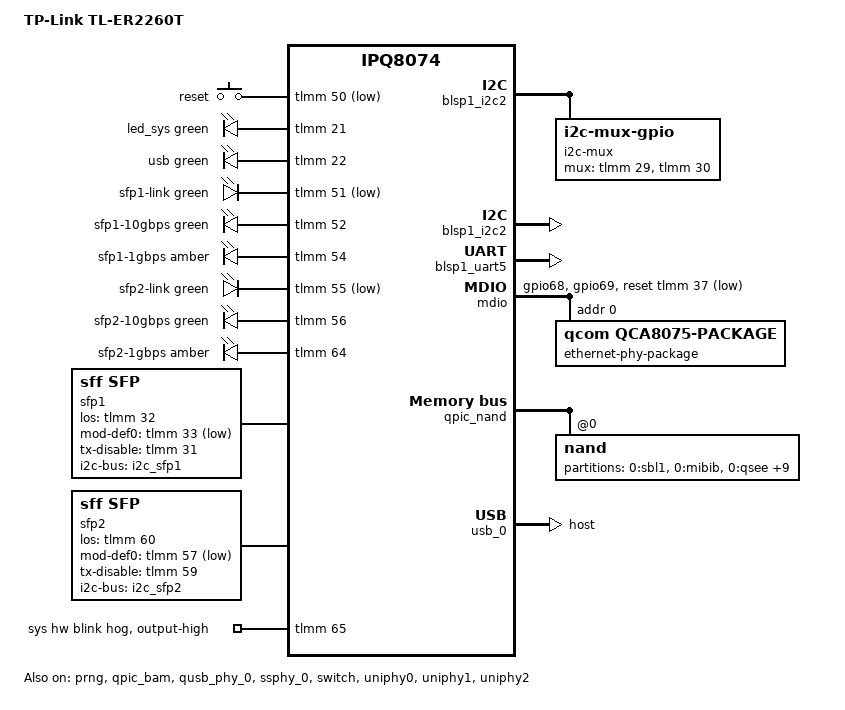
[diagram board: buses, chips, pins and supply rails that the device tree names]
// SPDX-License-Identifier: GPL-2.0-or-later OR MIT
/* Copyright (c) 2023-2026, Chukun Pan <amadeus@jmu.edu.cn> */

/dts-v1/;

#include "ipq8074.dtsi"
#include "ipq8074-ac-cpu.dtsi"
#include "ipq8074-ess.dtsi"
#include <dt-bindings/gpio/gpio.h>
#include <dt-bindings/input/input.h>
#include <dt-bindings/leds/common.h>

/ {
	model = "TP-Link TL-ER2260T";
	compatible = "tplink,tl-er2260t", "qcom,ipq8074";

	aliases {
		led-boot = &led_sys;
		led-failsafe = &led_sys;
		led-running = &led_sys;
		led-upgrade = &led_sys;
		serial0 = &blsp1_uart5;
		label-mac-device = &lan4;
	};

	chosen {
		stdout-path = "serial0:115200n8";
		bootargs-append = " ubi.mtd=rootfs root=/dev/ubiblock0_1";
	};

	i2c-mux {
		compatible = "i2c-mux-gpio";
		i2c-parent = <&blsp1_i2c2>;
		mux-gpios = <&tlmm 29 GPIO_ACTIVE_HIGH>,
			    <&tlmm 30 GPIO_ACTIVE_HIGH>;
		#address-cells = <1>;
		#size-cells = <0>;
		idle-state = <2>;

		i2c_sfp2: i2c@1 {
			reg = <1>;
		};

		i2c_sfp1: i2c@2 {
			reg = <2>;
		};
	};

	keys {
		compatible = "gpio-keys";

		reset {
			label = "reset";
			linux,code = <KEY_RESTART>;
			gpios = <&tlmm 50 GPIO_ACTIVE_LOW>;
		};
	};

	leds {
		compatible = "gpio-leds";

		/* gpio 65 low - hw blink */
		led_sys: sys {
			color = <LED_COLOR_ID_GREEN>;
			function = LED_FUNCTION_STATUS;
			gpios = <&tlmm 21 GPIO_ACTIVE_HIGH>;
		};

		usb {
			color = <LED_COLOR_ID_GREEN>;
			function = LED_FUNCTION_USB;
			gpios = <&tlmm 22 GPIO_ACTIVE_HIGH>;
			linux,default-trigger = "usbport";
			trigger-sources = <&usb_port1>;
		};

		/*
		 * 10GE1 Link/Act LED
		 * gpio 52 and 54 low - off
		 * gpio 52 or 54 high, gpio 51 high - on
		 * gpio 52 or 54 high, gpio 51 low - hw blink
		 */
		sfp1-link {
			color = <LED_COLOR_ID_GREEN>;
			function = "sfp1-link";
			gpios = <&tlmm 51 GPIO_ACTIVE_LOW>;
		};

		sfp1-10gbps {
			color = <LED_COLOR_ID_GREEN>;
			function = "sfp1-10gbps";
			gpios = <&tlmm 52 GPIO_ACTIVE_HIGH>;
		};

		sfp1-1gbps {
			color = <LED_COLOR_ID_AMBER>;
			function = "sfp1-1gbps";
			gpios = <&tlmm 54 GPIO_ACTIVE_HIGH>;
		};

		/*
		 * 10GE2 Link/Act LED
		 * gpio 56 and 64 low - off
		 * gpio 56 or 64 high, gpio 55 high - on
		 * gpio 56 or 64 high, gpio 55 low - hw blink
		 */
		sfp2-link {
			color = <LED_COLOR_ID_GREEN>;
			function = "sfp2-link";
			gpios = <&tlmm 55 GPIO_ACTIVE_LOW>;
		};

		sfp2-10gbps {
			color = <LED_COLOR_ID_GREEN>;
			function = "sfp2-10gbps";
			gpios = <&tlmm 56 GPIO_ACTIVE_HIGH>;
		};

		sfp2-1gbps {
			color = <LED_COLOR_ID_AMBER>;
			function = "sfp2-1gbps";
			gpios = <&tlmm 64 GPIO_ACTIVE_HIGH>;
		};
	};

	sfp1: sfp1 {
		compatible = "sff,sfp";
		i2c-bus = <&i2c_sfp1>;
		los-gpios = <&tlmm 32 GPIO_ACTIVE_HIGH>;
		mod-def0-gpios = <&tlmm 33 GPIO_ACTIVE_LOW>;
		tx-disable-gpios = <&tlmm 31 GPIO_ACTIVE_HIGH>;
	};

	sfp2: sfp2 {
		compatible = "sff,sfp";
		i2c-bus = <&i2c_sfp2>;
		los-gpios = <&tlmm 60 GPIO_ACTIVE_HIGH>;
		mod-def0-gpios = <&tlmm 57 GPIO_ACTIVE_LOW>;
		tx-disable-gpios = <&tlmm 59 GPIO_ACTIVE_HIGH>;
	};
};

&tlmm {
	mdio_pins: mdio-pins {
		mdc {
			pins = "gpio68";
			function = "mdc";
			drive-strength = <8>;
			bias-pull-up;
		};

		mdio {
			pins = "gpio69";
			function = "mdio";
			drive-strength = <8>;
			bias-pull-up;
		};
	};

	sys-hw-blink {
		gpio-hog;
		output-high;
		gpios = <65 GPIO_ACTIVE_HIGH>;
		line-name = "sys hw blink";
	};
};

&blsp1_i2c2 {
	status = "okay";
};

&blsp1_uart5 {
	status = "okay";
};

&cmn_pll_ref_clk {
	clock-frequency = <50000000>;
};

&edma {
	status = "okay";
};

&m3_dump_region {
	status = "disabled";
};

&mdio {
	status = "okay";

	pinctrl-0 = <&mdio_pins>;
	pinctrl-names = "default";
	reset-gpios = <&tlmm 37 GPIO_ACTIVE_LOW>;

	ethernet-phy-package@0 {
		compatible = "qcom,qca8075-package";
		#address-cells = <1>;
		#size-cells = <0>;
		reg = <0>;

		qcom,package-mode = "qsgmii";

		qca8075_0: ethernet-phy@0 {
			compatible = "ethernet-phy-ieee802.3-c22";
			reg = <0>;
		};

		qca8075_1: ethernet-phy@1 {
			compatible = "ethernet-phy-ieee802.3-c22";
			reg = <1>;
		};

		qca8075_2: ethernet-phy@2 {
			compatible = "ethernet-phy-ieee802.3-c22";
			reg = <2>;
		};

		qca8075_3: ethernet-phy@3 {
			compatible = "ethernet-phy-ieee802.3-c22";
			reg = <3>;
		};
	};
};

&prng {
	status = "okay";
};

&q6v5_wcss {
	status = "disabled";
};

&q6_etr_region {
	status = "disabled";
};

&q6_region {
	status = "disabled";
};

&qpic_bam {
	status = "okay";
};

&qpic_nand {
	status = "okay";

	nand@0 {
		reg = <0>;
		nand-ecc-strength = <4>;
		nand-ecc-step-size = <512>;
		nand-bus-width = <8>;

		partitions {
			compatible = "fixed-partitions";
			#address-cells = <1>;
			#size-cells = <1>;

			partition@0 {
				label = "0:sbl1";
				reg = <0x000000 0x0080000>;
				read-only;
			};

			partition@80000 {
				label = "0:mibib";
				reg = <0x080000 0x0080000>;
				read-only;
			};

			partition@100000 {
				label = "0:qsee";
				reg = <0x100000 0x0200000>;
				read-only;
			};

			partition@300000 {
				label = "0:devcfg";
				reg = <0x300000 0x0020000>;
				read-only;
			};

			partition@320000 {
				label = "0:rpm";
				reg = <0x320000 0x0040000>;
				read-only;
			};

			partition@360000 {
				label = "0:cdt";
				reg = <0x360000 0x0020000>;
				read-only;
			};

			partition@380000 {
				label = "0:appsbl";
				reg = <0x380000 0x0180000>;
				read-only;
			};

			partition@500000 {
				label = "0:ethphyfw";
				reg = <0x500000 0x0080000>;
			};

			partition@580000 {
				label = "0:appsblenv";
				reg = <0x580000 0x0080000>;
			};

			partition@600000 {
				label = "0:wififw";
				reg = <0x600000 0x0100000>;
			};

			partition@700000 {
				label = "factory";
				reg = <0x700000 0x0020000>;
				read-only;

				nvmem-layout {
					compatible = "fixed-layout";
					#address-cells = <1>;
					#size-cells = <1>;

					macaddr_d: macaddr@d {
						compatible = "mac-base";
						reg = <0xd 0x6>;
						#nvmem-cell-cells = <1>;
					};
				};
			};

			partition@720000 {
				label = "rootfs";
				reg = <0x720000 0x7000000>;
				linux,rootfs;
			};
		};
	};
};

&qusb_phy_0 {
	status = "okay";
};

&ssphy_0 {
	status = "okay";
};

&switch {
	status = "okay";

	ports {
		#address-cells = <1>;
		#size-cells = <0>;

		port@0 {
			reg = <0>;
			ethernet = <&edma>;
			phy-mode = "internal";

			fixed-link {
				speed = <1000>;
				full-duplex;
			};
		};

		port@1 {
			reg = <1>;
			label = "GE1";
			phy-mode = "qsgmii";
			phy-handle = <&qca8075_0>;
			pcs-handle = <&uniphy0 0>;
			nvmem-cells = <&macaddr_d 1>;
			nvmem-cell-names = "mac-address";
		};

		port@2 {
			reg = <2>;
			label = "GE2";
			phy-mode = "qsgmii";
			phy-handle = <&qca8075_1>;
			pcs-handle = <&uniphy0 1>;
			nvmem-cells = <&macaddr_d 2>;
			nvmem-cell-names = "mac-address";
		};

		port@3 {
			reg = <3>;
			label = "GE3";
			phy-mode = "qsgmii";
			phy-handle = <&qca8075_2>;
			pcs-handle = <&uniphy0 2>;
			nvmem-cells = <&macaddr_d 3>;
			nvmem-cell-names = "mac-address";
		};

		lan4: port@4 {
			reg = <4>;
			label = "GE4";
			phy-mode = "qsgmii";
			phy-handle = <&qca8075_3>;
			pcs-handle = <&uniphy0 3>;
			nvmem-cells = <&macaddr_d 0>;
			nvmem-cell-names = "mac-address";
		};

		port@5 {
			reg = <5>;
			sfp = <&sfp2>;
			label = "10GE2";
			phy-mode = "10gbase-r";
			pcs-handle = <&uniphy1 0>;
			managed = "in-band-status";
			nvmem-cells = <&macaddr_d 5>;
			nvmem-cell-names = "mac-address";
		};

		port@6 {
			reg = <6>;
			sfp = <&sfp1>;
			label = "10GE1";
			phy-mode = "10gbase-r";
			pcs-handle = <&uniphy2 0>;
			managed = "in-band-status";
			nvmem-cells = <&macaddr_d 4>;
			nvmem-cell-names = "mac-address";
		};
	};
};

&uniphy0 {
	status = "okay";
};

&uniphy1 {
	status = "okay";
};

&uniphy2 {
	status = "okay";
};

&usb_0 {
	#address-cells = <1>;
	#size-cells = <0>;
	dr_mode = "host";
	status = "okay";

	usb_port1: port@1 {
		reg = <1>;
		#trigger-source-cells = <0>;
	};
};
